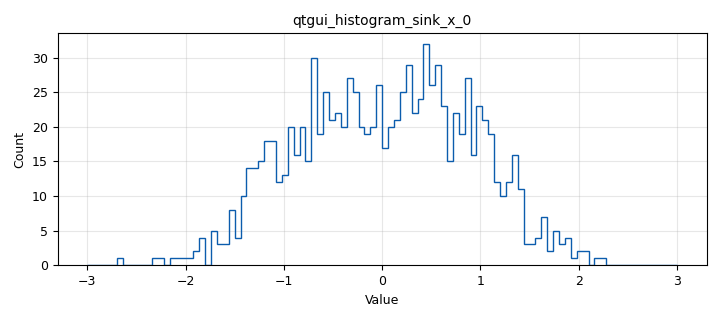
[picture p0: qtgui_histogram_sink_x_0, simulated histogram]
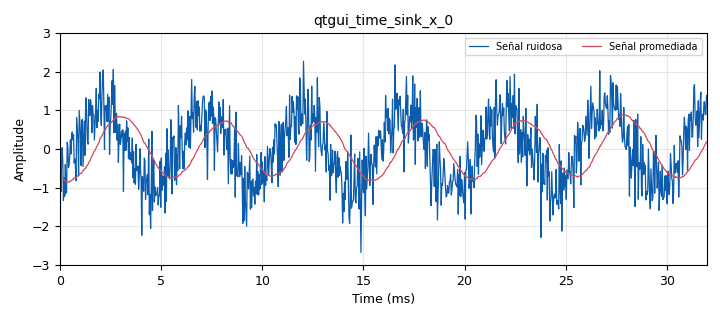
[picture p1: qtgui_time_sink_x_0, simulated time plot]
options:
  parameters:
    author: lizaness
    generate_options: qt_gui
    id: filtrado_promediado
    output_language: python
    title: Aplicacion Practica - Canal AWGN
  states: {}

blocks:
- name: N_prom
  id: variable_qtgui_range
  parameters:
    label: Muestras a promediar (N)
    start: '2'
    step: '2'
    stop: '64'
    value: '64'
  states: {}
- name: amp_ruido
  id: variable_qtgui_range
  parameters:
    label: Nivel de Ruido (Sigma)
    start: '0'
    step: '0.05'
    stop: '2'
    value: '0.5'
  states: {}
- name: samp_rate
  id: variable
  parameters:
    value: '32000'
  states: {}
- name: analog_noise_source_x_0
  id: analog_noise_source_x
  parameters:
    amp: amp_ruido
    noise_type: analog.GR_GAUSSIAN
    seed: '0'
    type: float
  states: {}
- name: analog_sig_source_x_0
  id: analog_sig_source_x
  parameters:
    amp: '1'
    freq: '200'
    offset: '0'
    phase: '0'
    samp_rate: samp_rate
    type: float
    waveform: analog.GR_COS_WAVE
  states: {}
- name: blocks_add_xx_0
  id: blocks_add_xx
  parameters:
    type: float
  states: {}
- name: blocks_throttle2_0
  id: blocks_throttle2
  parameters:
    samples_per_second: samp_rate
    type: float
  states: {}
- name: epy_block_0
  id: epy_block
  parameters:
    _source_code: "\"\"\"\nEmbedded Python Blocks:\n\nEach time this file is saved, GRC will instantiate the first class it finds\nto get ports and parameters of your block. The arguments to __init__  will\nbe the parameters. All of them are required to have default values!\n\"\"\"\n\nimport numpy as np\nfrom gnuradio import gr\n\nclass blk(gr.sync_block):\n    \"\"\"Bloque de Promedios de Tiempo Estadísticos\"\"\"\n\n    def __init__(self):\n        gr.sync_block.__init__(\n            self,\n            name='Promedios_de_tiempos',\n            in_sig=[np.float32],\n            out_sig=[np.float32, np.float32, np.float32, np.float32, np.float32]\n        )\n        self.acum_anterior = 0.0\n        self.Ntotales = 0\n        self.acum_anterior1 = 0.0\n        self.acum_anterior2 = 0.0\n\n    def work(self, input_items, output_items):\n        x = input_items[0]\n        y0 = output_items[0]  # Media\n        y1 = output_items[1]  # Media Cuadrática\n        y2 = output_items[2]  # RMS\n        y3 = output_items[3]  # Potencia Promedio\n        y4 = output_items[4]  # Desviación Estándar\n\n        N = len(x)\n        if N > 0:\n            self.Ntotales += N\n\n            # 1. Media\n            acumulado = self.acum_anterior + np.cumsum(x)\n            self.acum_anterior = acumulado[-1]\n            y0[:] = acumulado / self.Ntotales\n\n            # 2. Media Cuadrática\n            x2 = np.multiply(x, x)\n            acumulado1 = self.acum_anterior1 + np.cumsum(x2)\n            self.acum_anterior1 = acumulado1[-1]  # Corrección de variable en la guía\n            y1[:] = acumulado1 / self.Ntotales\n\n            # 3. Valor RMS\n            y2[:] = np.sqrt(y1)\n\n            # 4. Potencia Promedio\n            y3[:] = np.multiply(y2, y2)\n\n            # 5. Desviación Estándar\n            x3 = np.multiply(x - y0, x - y0)\n            acumulado2 = self.acum_anterior2 + np.cumsum(x3)\n            self.acum_anterior2 = acumulado2[-1]\n            y4[:] = np.sqrt(acumulado2 / self.Ntotales)\n\n        return len(x)\n\n\n\n"
  states: {}
- name: epy_block_0_0
  id: epy_block
  parameters:
    _source_code: |-
      """
      Bloque de desviacion estandar (una sola salida).
      Usa la identidad sigma^2 = E[x^2] - (E[x])^2
      """

      import numpy as np
      from gnuradio import gr


      class blk(gr.sync_block):
          """Desviacion estandar acumulada"""

          def __init__(self):
              gr.sync_block.__init__(
                  self,
                  name='Desviacion_Despues',
                  in_sig=[np.float32],
                  out_sig=[np.float32]
              )
              self.acum_anterior = 0.0
              self.acum_anterior1 = 0.0
              self.Ntotales = 0

          def work(self, input_items, output_items):
              x = input_items[0]
              y0 = output_items[0]   # Desviacion estandar

              N = len(x)
              if N > 0:
                  self.Ntotales += N

                  acumulado = self.acum_anterior + np.cumsum(x)
                  self.acum_anterior = acumulado[-1]
                  media = acumulado / self.Ntotales

                  x2 = np.multiply(x, x)
                  acumulado1 = self.acum_anterior1 + np.cumsum(x2)
                  self.acum_anterior1 = acumulado1[-1]
                  media_cuad = acumulado1 / self.Ntotales

                  y0[:] = np.sqrt(np.maximum(media_cuad - media ** 2, 0.0))

              return len(x)
  states: {}
- name: epy_block_1
  id: epy_block
  parameters:
    N: N_prom
    _source_code: |-
      import numpy as np
      from gnuradio import gr


      class blk(gr.sync_block):
          """Promediador movil de N muestras"""

          def __init__(self, N=16):
              gr.sync_block.__init__(
                  self,
                  name='Promediador_Movil',
                  in_sig=[np.float32],
                  out_sig=[np.float32]
              )
              self.N = int(N)
              # set_history pide N-1 muestras del bloque anterior,
              # para que la ventana no se corte entre llamadas a work().
              self.set_history(self.N)

          def work(self, input_items, output_items):
              x = input_items[0]
              y0 = output_items[0]
              ventana = np.ones(self.N) / self.N
              y0[:] = np.convolve(x, ventana, mode='valid')
              return len(y0)
  states: {}
- name: qtgui_histogram_sink_x_0
  id: qtgui_histogram_sink_x
  parameters:
    bins: '100'
    size: '1024'
    type: float
    xmax: '3'
    xmin: '-3'
  states: {}
- name: qtgui_number_sink_0_0
  id: qtgui_number_sink
  parameters:
    graph_type: qtgui.NUM_GRAPH_HORIZ
    name: '"Media"'
    type: float
  states: {}
- name: qtgui_number_sink_0_1
  id: qtgui_number_sink
  parameters:
    graph_type: qtgui.NUM_GRAPH_HORIZ
    name: '"Media Cuadratica"'
    type: float
  states: {}
- name: qtgui_number_sink_0_2
  id: qtgui_number_sink
  parameters:
    graph_type: qtgui.NUM_GRAPH_HORIZ
    name: '"RMS"'
    type: float
  states: {}
- name: qtgui_number_sink_0_3
  id: qtgui_number_sink
  parameters:
    graph_type: qtgui.NUM_GRAPH_HORIZ
    name: '"Potencia Promedio"'
    type: float
  states: {}
- name: qtgui_number_sink_0_4
  id: qtgui_number_sink
  parameters:
    graph_type: qtgui.NUM_GRAPH_HORIZ
    max: '3'
    name: '"Desviacion Estandar Antes"'
    type: float
  states: {}
- name: qtgui_number_sink_0_4_0
  id: qtgui_number_sink
  parameters:
    graph_type: qtgui.NUM_GRAPH_HORIZ
    max: '3'
    name: '"Desviacion Estandar Despues"'
    type: float
  states: {}
- name: qtgui_time_sink_x_0
  id: qtgui_time_sink_x
  parameters:
    color1: magenta
    label1: Señal ruidosa
    label2: Señal promediada
    nconnections: '2'
    size: '1024'
    srate: samp_rate
    type: float
    ymax: '3'
    ymin: '-3'
  states: {}

connections:
- [analog_noise_source_x_0, '0', blocks_add_xx_0, '1']
- [analog_sig_source_x_0, '0', blocks_add_xx_0, '0']
- [blocks_add_xx_0, '0', blocks_throttle2_0, '0']
- [blocks_throttle2_0, '0', epy_block_0, '0']
- [blocks_throttle2_0, '0', epy_block_1, '0']
- [blocks_throttle2_0, '0', qtgui_histogram_sink_x_0, '0']
- [blocks_throttle2_0, '0', qtgui_time_sink_x_0, '0']
- [epy_block_0, '0', qtgui_number_sink_0_0, '0']
- [epy_block_0, '1', qtgui_number_sink_0_1, '0']
- [epy_block_0, '2', qtgui_number_sink_0_2, '0']
- [epy_block_0, '3', qtgui_number_sink_0_3, '0']
- [epy_block_0, '4', qtgui_number_sink_0_4, '0']
- [epy_block_0_0, '0', qtgui_number_sink_0_4_0, '0']
- [epy_block_1, '0', epy_block_0_0, '0']
- [epy_block_1, '0', qtgui_time_sink_x_0, '1']

metadata:
  file_format: 1
  grc_version: 3.10.12.0
